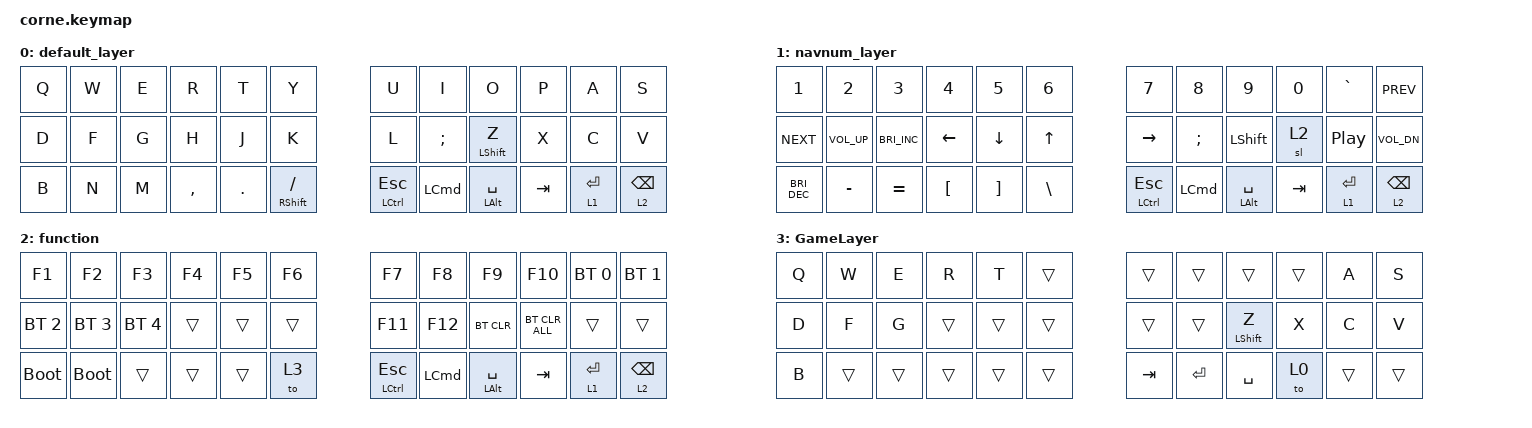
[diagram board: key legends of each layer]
/*
 * Copyright (c) 2020 The ZMK Contributors
 *
 * SPDX-License-Identifier: MIT
 */

#include <behaviors.dtsi>
#include <dt-bindings/zmk/bt.h>
#include <dt-bindings/zmk/keys.h>

/ {
    chosen {
        /delete-property/ zmk,physical-layout;

        zmk,matrix-transform = &five_column_transform;
    };
};

/ {
    keymap {
        compatible = "zmk,keymap";

        default_layer {
            /* QWERTY
 *
 * ,----------------------------------.                      ,----------------------------------.
 * |   Q  |   W  |   E  |   R  |   T  |                      |   Y  |   U  |   I  |   O  |   P  |
 * |------+------+------+------+------|                      |------+------+------+------+------|
 * |   A  |   S  |   D  |   F  |   G  |                      |   H  |   J  |   K  |   L  |   ;  |
 * |------+------+------+------+------|                      |------+------+------+------+------|
 * |   Z  |   X  |   C  |   V  |   B  |                      |   N  |   M  |   ,  |   .  |   /  |
 * `----------------------------------'                      `----------------------------------'
 *                    ,--------------------.            ,--------------------.
 *                    | DEL | SPACE | TAB  |            |  ESC  | BS | ENTER |
 *                    `--------------------'            `--------------------'
 */

            bindings = <
&kp Q  &kp W  &kp E  &kp R      &kp T    &kp Y                    &kp U          &kp I          &kp O               &kp P    &kp A        &kp S
&kp D  &kp F  &kp G  &kp H      &kp J    &kp K                    &kp L          &kp SEMICOLON  &mt LEFT_SHIFT Z    &kp X    &kp C        &kp V
&kp B  &kp N  &kp M  &kp COMMA  &kp DOT  &mt RIGHT_SHIFT SLASH    &mt LCTRL ESC  &kp LCMD       &mt LEFT_ALT SPACE  &kp TAB  &lt 1 ENTER  &lt 2 BACKSPACE
            >;
        };

        navnum_layer {
            /* NAVNUM
 *
 * ,----------------------------------.                      ,----------------------------------.
 * |      | PgUp |  UP  | PgDn |      |                      |   /  |   7  |   8  |   9  |   -  |
 * |------+------+------+------+------|                      |------+------+------+------+------|
 * | Home | Left | Down | Right| End  |                      |   =  |   4  |   5  |   6  |   +  |
 * |------+------+------+------+------|                      |------+------+------+------+------|
 * |      |      |  INS |      |      |                      |   0  |   1  |   2  |   3  |   *  |
 * `----------------------------------'                      `----------------------------------'
 *                    ,--------------------.            ,--------------------.
 *                    | DEL | SPACE | TAB  |            |  ESC  | BS | ENTER |
 *                    `--------------------'            `--------------------'
 */

            bindings = <
&kp NUMBER_1          &kp NUMBER_2  &kp NUMBER_3          &kp NUMBER_4      &kp N5             &kp NUMBER_6     &kp N7         &kp N8         &kp N9              &kp N0   &kp GRAVE         &kp C_PREV
&kp C_NEXT            &kp C_VOL_UP  &kp C_BRIGHTNESS_INC  &kp LEFT          &kp DOWN           &kp UP_ARROW     &kp RIGHT      &kp SEMICOLON  &kp LEFT_SHIFT      &sl 2    &kp C_PLAY_PAUSE  &kp C_VOL_DN
&kp C_BRIGHTNESS_DEC  &kp MINUS     &kp EQUAL             &kp LEFT_BRACKET  &kp RIGHT_BRACKET  &kp BACKSLASH    &mt LCTRL ESC  &kp LCMD       &mt LEFT_ALT SPACE  &kp TAB  &lt 1 ENTER       &lt 2 BACKSPACE
            >;
        };

        function {
            /* SYM
 *
 * ,----------------------------------.                      ,----------------------------------.
 * |   %  |   @  |   [  |   ]  |   \  |                      |      |      |   ^  |      |      |
 * |------+------+------+------+------|                      |------+------+------+------+------|
 * |   #  |   !  |   (  |   )  |   |  |                      |   _  |   '  |   "  |   ~  |   `  |
 * |------+------+------+------+------|                      |------+------+------+------+------|
 * |   $  |      |   {  |   }  |   &  |                      |      |      |      |      |      |
 * `----------------------------------'                      `----------------------------------'
 *                    ,--------------------.            ,--------------------.
 *                    | DEL | SPACE | TAB  |            |  ESC  | BS | ENTER |
 *                    `--------------------'            `--------------------'
 */

            bindings = <
&kp F1        &kp F2        &kp F3        &kp F4  &kp F5  &kp F6    &kp F7         &kp F8    &kp F9              &kp F10         &bt BT_SEL 0  &bt BT_SEL 1
&bt BT_SEL 2  &bt BT_SEL 3  &bt BT_SEL 4  &trans  &trans  &trans    &kp F11        &kp F12   &bt BT_CLR          &bt BT_CLR_ALL  &trans        &trans
&bootloader   &bootloader   &trans        &trans  &trans  &to 3     &mt LCTRL ESC  &kp LCMD  &mt LEFT_ALT SPACE  &kp TAB         &lt 1 ENTER   &lt 2 BACKSPACE
            >;
        };

        GameLayer {
            bindings = <
&kp Q  &kp W   &kp E   &kp R   &kp T   &trans    &trans   &trans     &trans            &trans  &kp A   &kp S
&kp D  &kp F   &kp G   &trans  &trans  &trans    &trans   &trans     &mt LEFT_SHIFT Z  &kp X   &kp C   &kp V
&kp B  &trans  &trans  &trans  &trans  &trans    &kp TAB  &kp ENTER  &kp SPACE         &to 0   &trans  &trans
            >;
        };
    };
};
